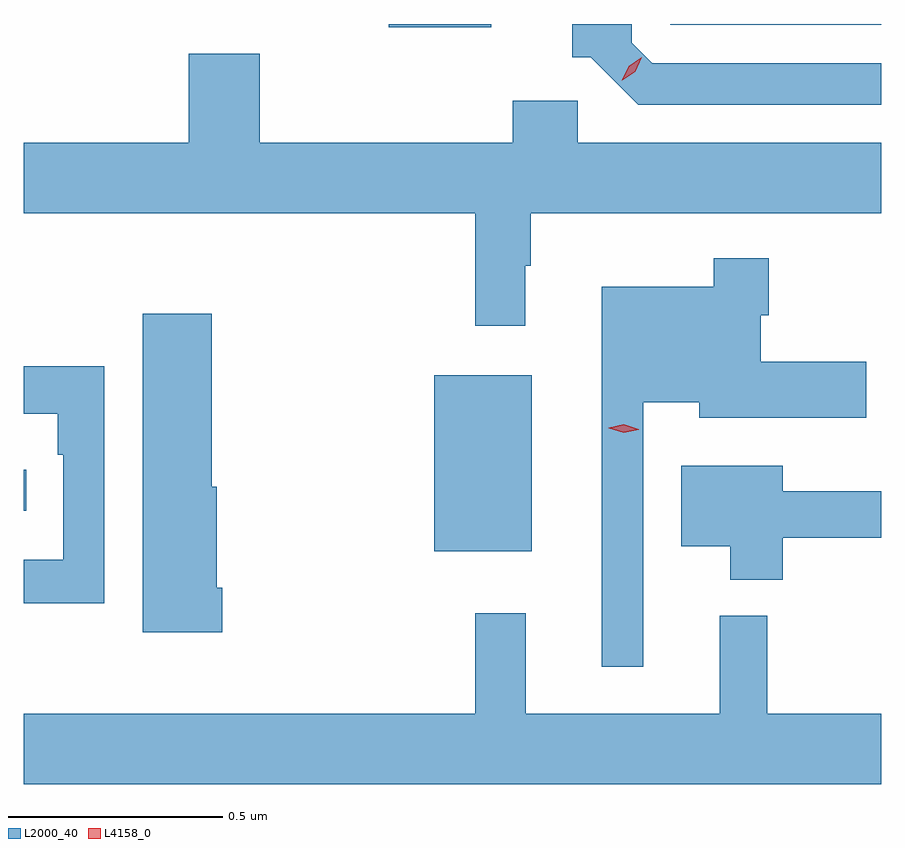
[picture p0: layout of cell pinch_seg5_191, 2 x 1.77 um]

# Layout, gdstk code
import gdstk
lib = gdstk.Library(unit=1e-6, precision=1e-09)
def R(c, l, rs):  # rectangles x0, y0, x1, y1
    for r in rs: c.add(gdstk.rectangle(r[:2], r[2:], *l))
def P(c, l, *ps):  # polygons
    for p in ps: c.add(gdstk.Polygon(p, *l))
L2000_40 = (2000, 40)
L4158_0 = (4158, 0)

pinch_seg5_191 = lib.new_cell('pinch_seg5_191')
R(pinch_seg5_191, L2000_40, [(1129.268,875.951,1129.495,876.361), (1128.31,876.045,1128.316,876.141), (1129.161,877.174,1129.4,877.181), (1129.818,877.179,1130.31,877.181)])
P(pinch_seg5_191, L2000_40, [(1130.31,877.089),(1129.776,877.089),(1129.728,877.137),(1129.728,877.181),(1129.589,877.181),(1129.589,877.104),(1129.632,877.104),(1129.743,876.993),(1130.31,876.993)],
  [(1129.48,876.617),(1129.492,876.617),(1129.492,876.74),(1130.31,876.74),(1130.31,876.904),(1129.602,876.904),(1129.602,877.002),(1129.451,877.002),(1129.451,876.904),(1128.86,876.904),(1128.86,877.112),(1128.695,877.112),(1128.695,876.904),(1128.31,876.904),(1128.31,876.74),(1129.363,876.74),(1129.363,876.477),(1129.48,876.477)],
  [(1129.755,876.299),(1129.886,876.299),(1129.886,876.263),(1130.275,876.263),(1130.275,876.393),(1130.029,876.393),(1130.029,876.501),(1130.048,876.501),(1130.048,876.634),(1129.92,876.634),(1129.92,876.568),(1129.658,876.568),(1129.658,875.682),(1129.755,875.682)],
  [(1128.773,875.866),(1128.76,875.866),(1128.76,876.102),(1128.748,876.102),(1128.748,876.505),(1128.587,876.505),(1128.587,875.762),(1128.773,875.762)],
  [(1128.498,876.382),(1128.31,876.382),(1128.31,876.272),(1128.389,876.272),(1128.389,876.176),(1128.402,876.176),(1128.402,875.931),(1128.31,875.931),(1128.31,875.83),(1128.498,875.83)],
  [(1130.08,875.982),(1130.31,875.982),(1130.31,876.091),(1130.08,876.091),(1130.08,876.151),(1129.844,876.151),(1129.844,875.963),(1129.958,875.963),(1129.958,875.885),(1130.08,875.885)],
  [(1130.31,875.572),(1130.044,875.572),(1130.044,875.8),(1129.934,875.8),(1129.934,875.572),(1129.481,875.572),(1129.481,875.806),(1129.363,875.806),(1129.363,875.572),(1128.31,875.572),(1128.31,875.408),(1130.31,875.408)])
P(pinch_seg5_191, L4158_0, [(1129.705,877.05),(1129.705,877.05),(1129.721,877.083),(1129.752,877.103),(1129.752,877.103),(1129.752,877.103),(1129.736,877.07),(1129.706,877.05)],
  [(1129.709,876.227),(1129.674,876.238),(1129.674,876.238),(1129.674,876.239),(1129.71,876.247),(1129.744,876.236),(1129.745,876.235),(1129.744,876.235)])

lib.write_gds('pinch_seg5_191.gds')
